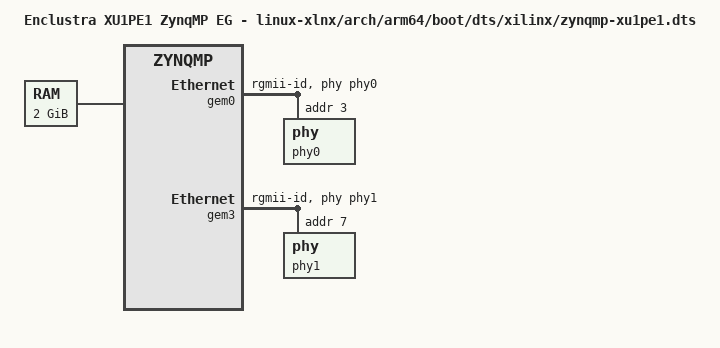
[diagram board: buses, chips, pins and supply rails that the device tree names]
// SPDX-License-Identifier: GPL-2.0+
/*
 * dts file for Xilinx ZynqMP ZCU102 RevA
 *
 * (C) Copyright 2015 - 2018, Xilinx, Inc.
 *
 * Michal Simek <michal.simek@xilinx.com>
 */

/dts-v1/;

#include "zynqmp.dtsi"
#include "zynqmp-clk-ccf.dtsi"
#include <dt-bindings/input/input.h>
#include <dt-bindings/gpio/gpio.h>
#include <dt-bindings/pinctrl/pinctrl-zynqmp.h>
#include <dt-bindings/phy/phy.h>

/ {
	model = "Enclustra XU1PE1 ZynqMP EG - linux-xlnx/arch/arm64/boot/dts/xilinx/zynqmp-xu1pe1.dts";
	compatible = "xlnx,zynqmp";
	chosen {
		bootargs = "earlycon clk_ignore_unused";
		stdout-path = "serial0:115200n8";
	};
	aliases {
		ethernet0 = &gem0;
		ethernet1 = &gem3;
		i2c0 = &i2c0;
		serial0 = &uart0;
		spi0 = &qspi;
	};
	memory {
		device_type = "memory";
		reg = <0x0 0x0 0x0 0x7ff00000>;
	};
};

&gem0 {
	phy-mode = "rgmii-id";
	phy-handle = <&phy0>;
	status = "okay";
	xlnx,ptp-enet-clock = <0x0>;
	phy0: phy@3 {
		reg = <0x3>;
	};
};
&gem3 {
	phy-mode = "rgmii-id";
	phy-handle = <&phy1>;
	status = "okay";
	xlnx,ptp-enet-clock = <0x0>;
	phy1: phy@7 {
		reg = <0x7>;
	};
};
